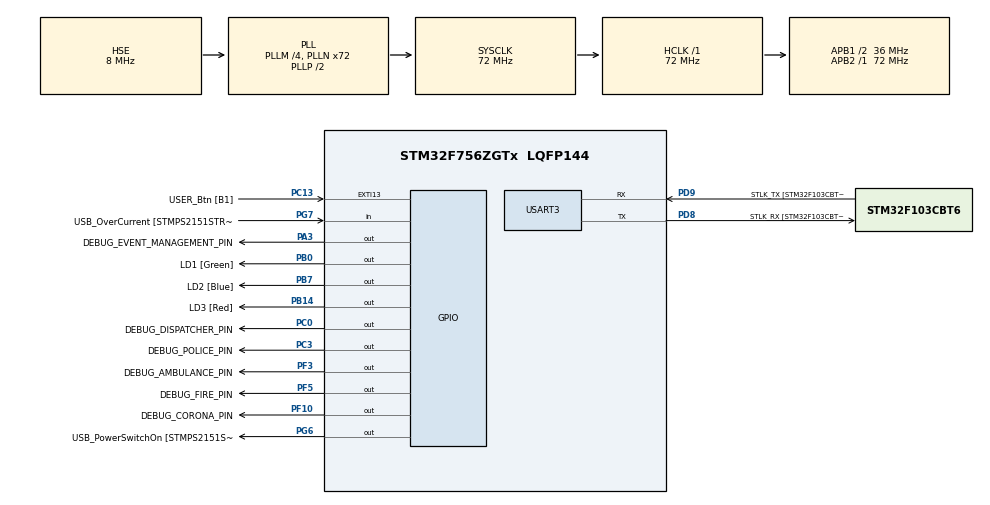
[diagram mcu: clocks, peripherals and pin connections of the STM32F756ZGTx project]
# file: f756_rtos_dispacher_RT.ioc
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FREERTOS.Tasks01=defaultTask,24,128,StartDefaultTask,Default,NULL,Dynamic,NULL,NULL
Mcu.Family=STM32F7
Mcu.Name=STM32F756ZGTx
Mcu.Package=LQFP144
NVIC.PriorityGroup=NVIC_PRIORITYGROUP_4
NVIC.TIM6_DAC_IRQn=true\:15\:0\:false\:false\:true\:false\:false\:true\:true
NVIC.TimeBase=TIM6_DAC_IRQn
NVIC.TimeBaseIP=TIM6
PA1.GPIO_Label=RMII_REF_CLK [LAN8742A-CZ-TR_REFCLK0]
PA1.Signal=ETH_REF_CLK
PA10.GPIO_Label=USB_ID
PA10.Signal=USB_OTG_FS_ID
PA11.GPIO_Label=USB_DM
PA11.Signal=USB_OTG_FS_DM
PA12.GPIO_Label=USB_DP
PA12.Signal=USB_OTG_FS_DP
PA13.GPIO_Label=TMS
PA13.Mode=Serial_Wire
PA13.Signal=SYS_JTMS-SWDIO
PA14.GPIO_Label=TCK
PA14.Mode=Serial_Wire
PA14.Signal=SYS_JTCK-SWCLK
PA2.GPIO_Label=RMII_MDIO [LAN8742A-CZ-TR_MDIO]
PA2.Signal=ETH_MDIO
PA3.GPIO_Label=DEBUG_EVENT_MANAGEMENT_PIN
PA3.Signal=GPIO_Output
PA7.GPIO_Label=RMII_CRS_DV [LAN8742A-CZ-TR_CRS_DV]
PA7.Signal=ETH_CRS_DV
PA8.GPIO_Label=USB_SOF [TP1]
PA8.Signal=USB_OTG_FS_SOF
PA9.GPIO_Label=USB_VBUS
PA9.Signal=USB_OTG_FS_VBUS
PB0.GPIO_Label=LD1 [Green]
PB0.Signal=GPIO_Output
PB13.GPIO_Label=RMII_TXD1 [LAN8742A-CZ-TR_TXD1]
PB13.Signal=ETH_TXD1
PB14.GPIO_Label=LD3 [Red]
PB14.Signal=GPIO_Output
PB3.GPIO_Label=SW0
PB3.Signal=SYS_JTDO-SWO
PB7.GPIO_Label=LD2 [Blue]
PB7.Signal=GPIO_Output
PB8.Signal=I2C1_SCL
PB9.Signal=I2C1_SDA
PC0.GPIO_Label=DEBUG_DISPATCHER_PIN
PC0.Signal=GPIO_Output
PC1.GPIO_Label=RMII_MDC [LAN8742A-CZ-TR_MDC]
PC1.Signal=ETH_MDC
PC13.GPIO_Label=USER_Btn [B1]
PC13.Signal=GPXTI13
PC14/OSC32_IN.Mode=LSE-External-Oscillator
PC14/OSC32_IN.Signal=RCC_OSC32_IN
PC15/OSC32_OUT.Mode=LSE-External-Oscillator
PC15/OSC32_OUT.Signal=RCC_OSC32_OUT
PC3.GPIO_Label=DEBUG_POLICE_PIN
PC3.Signal=GPIO_Output
PC4.GPIO_Label=RMII_RXD0 [LAN8742A-CZ-TR_RXD0]
PC4.Signal=ETH_RXD0
PC5.GPIO_Label=RMII_RXD1 [LAN8742A-CZ-TR_RXD1]
PC5.Signal=ETH_RXD1
PD8.GPIO_Label=STLK_RX [STM32F103CBT6_PA3]
PD8.Mode=Asynchronous
PD8.Signal=USART3_TX
PD9.GPIO_Label=STLK_TX [STM32F103CBT6_PA2]
PD9.Mode=Asynchronous
PD9.Signal=USART3_RX
PF10.GPIO_Label=DEBUG_CORONA_PIN
PF10.Signal=GPIO_Output
PF3.GPIO_Label=DEBUG_AMBULANCE_PIN
PF3.Signal=GPIO_Output
PF5.GPIO_Label=DEBUG_FIRE_PIN
PF5.Signal=GPIO_Output
PG11.GPIO_Label=RMII_TX_EN [LAN8742A-CZ-TR_TXEN]
PG11.Signal=ETH_TX_EN
PG13.GPIO_Label=RMII_TXD0 [LAN8742A-CZ-TR_TXD0]
PG13.Signal=ETH_TXD0
PG6.GPIO_Label=USB_PowerSwitchOn [STMPS2151STR_EN]
PG6.Signal=GPIO_Output
PG7.GPIO_Label=USB_OverCurrent [STMPS2151STR_FAULT]
PG7.Signal=GPIO_Input
PH0/OSC_IN.GPIO_Label=MCO [STM32F103CBT6_PA8]
PH0/OSC_IN.Mode=HSE-External-Clock-Source
PH0/OSC_IN.Signal=RCC_OSC_IN
PH1/OSC_OUT.Mode=HSE-External-Clock-Source
PH1/OSC_OUT.Signal=RCC_OSC_OUT
ProjectManager.HeapSize=0x200
ProjectManager.StackSize=0x400
ProjectManager.TargetToolchain=CMake
RCC.48MHZClocksFreq_Value=24000000
RCC.AHBFreq_Value=72000000
RCC.APB1CLKDivider=RCC_HCLK_DIV2
RCC.APB1Freq_Value=36000000
RCC.APB1TimFreq_Value=72000000
RCC.APB2Freq_Value=72000000
RCC.APB2TimFreq_Value=72000000
RCC.CortexFreq_Value=72000000
RCC.HCLKFreq_Value=72000000
RCC.HSE_VALUE=8000000
RCC.HSI_VALUE=16000000
RCC.PLLM=4
RCC.PLLMUL=RCC_PLL_MUL9
RCC.PLLN=72
RCC.PLLQ=3
RCC.PLLSourceVirtual=RCC_PLLSOURCE_HSE
RCC.PRESCALERUSB=RCC_USBCLKSOURCE_PLL_DIV1_5
RCC.SYSCLKFreq_VALUE=72000000
RCC.SYSCLKSource=RCC_SYSCLKSOURCE_PLLCLK
RCC.SYSCLKSourceVirtual=RCC_SYSCLKSOURCE_PLLCLK
RCC.USBFreq_Value=48000000
RCC.VCOOutputFreq_Value=144000000
USART3.VirtualMode-Asynchronous=VM_ASYNC
VP_FREERTOS_VS_CMSIS_V2.Mode=CMSIS_V2
VP_RNG_VS_RNG.Mode=RNG_Activate
VP_SYS_VS_tim6.Mode=TIM6
board=NUCLEO-F756ZG

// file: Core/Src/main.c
/* USER CODE BEGIN Header */
/**
  ******************************************************************************
  * @file           : main.c
  * @brief          : Main program body
  ******************************************************************************
  * @attention
  *
  * Copyright (c) 2025 STMicroelectronics.
  * All rights reserved.
  *
  * This software is licensed under terms that can be found in the LICENSE file
  * in the root directory of this software component.
  * If no LICENSE file comes with this software, it is provided AS-IS.
  *
  ******************************************************************************
  */
/* USER CODE END Header */
#include "main.h"
#include "cmsis_os.h"

/* USER CODE BEGIN Includes */
#include "FreeRTOS.h"
#include "task.h"
#include "print.h"
#include "common.h"
#include "dispatcher.h"
#include "police.h"
#include "ambulance.h"
#include "fire.h"
#include "corona.h"
#include "event_managment.h"

/* USER CODE END Includes */

RNG_HandleTypeDef hrng;

UART_HandleTypeDef huart3;

/* Definitions for defaultTask */
osThreadId_t defaultTaskHandle;
const osThreadAttr_t defaultTask_attributes = {
  .name = "defaultTask",
  .stack_size = 128 * 4,
  .priority = (osPriority_t) osPriorityNormal,
};

void SystemClock_Config(void);
static void MX_GPIO_Init(void);
static void MX_RNG_Init(void);
static void MX_USART3_UART_Init(void);
void StartDefaultTask(void *argument);

int main(void)
{

  /* MCU Configuration--------------------------------------------------------*/

  /* Reset of all peripherals, Initializes the Flash interface and the Systick. */
  HAL_Init();

  /* Configure the system clock */
  SystemClock_Config();

  /* Initialize all configured peripherals */
  MX_GPIO_Init();
  MX_RNG_Init();
  MX_USART3_UART_Init();

  /* Init scheduler */
  osKernelInitialize();

  /* Create the thread(s) */
  /* creation of defaultTask */
  // defaultTaskHandle = osThreadNew(StartDefaultTask, NULL, &defaultTask_attributes);

  /* USER CODE BEGIN RTOS_THREADS */
/* add threads, ... */

configASSERT(xPrintInit(TASK_DEFAULT_PRIORITY + 1) == pdPASS);
DEBUG_INFO("------------------------------------------\n");
// Start the Dispatcher first (so its queue is ready)
configASSERT(xStartDispacherTask(TASK_DEFAULT_PRIORITY) == pdPASS);
DEBUG_INFO("Dispacher-------------------------------------\n");

// Start each department
configASSERT(xStartPoliceTask(TASK_DEFAULT_PRIORITY) == pdPASS);
DEBUG_INFO("Police-----------------------------------\n");

configASSERT(xStartAmbulanceTask(TASK_DEFAULT_PRIORITY) == pdPASS);
DEBUG_INFO("Ambulance----------------------------------\n");

configASSERT(xStartFireFighterTask(TASK_DEFAULT_PRIORITY) == pdPASS);
DEBUG_INFO("Fire-------------------------------------\n");

configASSERT(xStartCoronaTask(TASK_DEFAULT_PRIORITY) == pdPASS);
DEBUG_INFO("Corona-------------------------------------\n");

// Start the Event Management (generates events)
configASSERT(xStartEventManagementTask(TASK_DEFAULT_PRIORITY) == pdPASS);
DEBUG_INFO("vStartEventManagementTask-----------------\n");
DEBUG_INFO("------------------------------------------\n");
/* USER CODE END RTOS_THREADS */

/* Start scheduler */
osKernelStart();

/* We should never get here as control is now taken by the scheduler */

/* Infinite loop */
while (1)
{

  }
}

void SystemClock_Config(void)
{
  RCC_OscInitTypeDef RCC_OscInitStruct = {0};
  RCC_ClkInitTypeDef RCC_ClkInitStruct = {0};

  /** Configure LSE Drive Capability
  */
  HAL_PWR_EnableBkUpAccess();

  /** Configure the main internal regulator output voltage
  */
  __HAL_RCC_PWR_CLK_ENABLE();
  __HAL_PWR_VOLTAGESCALING_CONFIG(PWR_REGULATOR_VOLTAGE_SCALE3);

  /** Initializes the RCC Oscillators according to the specified parameters
  * in the RCC_OscInitTypeDef structure.
  */
  RCC_OscInitStruct.OscillatorType = RCC_OSCILLATORTYPE_HSE;
  RCC_OscInitStruct.HSEState = RCC_HSE_BYPASS;
  RCC_OscInitStruct.PLL.PLLState = RCC_PLL_ON;
  RCC_OscInitStruct.PLL.PLLSource = RCC_PLLSOURCE_HSE;
  RCC_OscInitStruct.PLL.PLLM = 4;
  RCC_OscInitStruct.PLL.PLLN = 72;
  RCC_OscInitStruct.PLL.PLLP = RCC_PLLP_DIV2;
  RCC_OscInitStruct.PLL.PLLQ = 3;
  if (HAL_RCC_OscConfig(&RCC_OscInitStruct) != HAL_OK)
  {
    Error_Handler();
  }

  /** Initializes the CPU, AHB and APB buses clocks
  */
  RCC_ClkInitStruct.ClockType = RCC_CLOCKTYPE_HCLK|RCC_CLOCKTYPE_SYSCLK
                              |RCC_CLOCKTYPE_PCLK1|RCC_CLOCKTYPE_PCLK2;
  RCC_ClkInitStruct.SYSCLKSource = RCC_SYSCLKSOURCE_PLLCLK;
  RCC_ClkInitStruct.AHBCLKDivider = RCC_SYSCLK_DIV1;
  RCC_ClkInitStruct.APB1CLKDivider = RCC_HCLK_DIV2;
  RCC_ClkInitStruct.APB2CLKDivider = RCC_HCLK_DIV1;

  if (HAL_RCC_ClockConfig(&RCC_ClkInitStruct, FLASH_LATENCY_2) != HAL_OK)
  {
    Error_Handler();
  }
}

static void MX_RNG_Init(void)
{

  hrng.Instance = RNG;
  if (HAL_RNG_Init(&hrng) != HAL_OK)
  {
    Error_Handler();
  }

}

static void MX_USART3_UART_Init(void)
{

  huart3.Instance = USART3;
  huart3.Init.BaudRate = 115200;
  huart3.Init.WordLength = UART_WORDLENGTH_8B;
  huart3.Init.StopBits = UART_STOPBITS_1;
  huart3.Init.Parity = UART_PARITY_NONE;
  huart3.Init.Mode = UART_MODE_TX_RX;
  huart3.Init.HwFlowCtl = UART_HWCONTROL_NONE;
  huart3.Init.OverSampling = UART_OVERSAMPLING_16;
  huart3.Init.OneBitSampling = UART_ONE_BIT_SAMPLE_DISABLE;
  huart3.AdvancedInit.AdvFeatureInit = UART_ADVFEATURE_NO_INIT;
  if (HAL_UART_Init(&huart3) != HAL_OK)
  {
    Error_Handler();
  }

}

static void MX_GPIO_Init(void)
{
  GPIO_InitTypeDef GPIO_InitStruct = {0};

  /* GPIO Ports Clock Enable */
  __HAL_RCC_GPIOC_CLK_ENABLE();
  __HAL_RCC_GPIOF_CLK_ENABLE();
  __HAL_RCC_GPIOH_CLK_ENABLE();
  __HAL_RCC_GPIOA_CLK_ENABLE();
  __HAL_RCC_GPIOB_CLK_ENABLE();
  __HAL_RCC_GPIOD_CLK_ENABLE();
  __HAL_RCC_GPIOG_CLK_ENABLE();

  /*Configure GPIO pin Output Level */
  HAL_GPIO_WritePin(GPIOF, DEBUG_AMBULANCE_PIN_Pin | DEBUG_FIRE_PIN_Pin | DEBUG_CORONA_PIN_Pin, GPIO_PIN_RESET);

  /*Configure GPIO pin Output Level */
  HAL_GPIO_WritePin(GPIOC, DEBUG_DISPATCHER_PIN_Pin | DEBUG_POLICE_PIN_Pin, GPIO_PIN_RESET);

  /*Configure GPIO pin Output Level */
  HAL_GPIO_WritePin(DEBUG_EVENT_MANAGEMENT_PIN_GPIO_Port, DEBUG_EVENT_MANAGEMENT_PIN_Pin, GPIO_PIN_RESET);

  /*Configure GPIO pin Output Level */
  HAL_GPIO_WritePin(GPIOB, LD1_Pin|LD3_Pin|LD2_Pin, GPIO_PIN_RESET);

  /*Configure GPIO pin Output Level */
  HAL_GPIO_WritePin(USB_PowerSwitchOn_GPIO_Port, USB_PowerSwitchOn_Pin, GPIO_PIN_RESET);

  /*Configure GPIO pin : USER_Btn_Pin */
  GPIO_InitStruct.Pin = USER_Btn_Pin;
  GPIO_InitStruct.Mode = GPIO_MODE_IT_RISING;
  GPIO_InitStruct.Pull = GPIO_NOPULL;
  HAL_GPIO_Init(USER_Btn_GPIO_Port, &GPIO_InitStruct);

  /*Configure GPIO pins : DEBUG_AMBULANCE_PIN_Pin DEBUG_FIRE_PIN_Pin DEBUG_CORONA_PIN_Pin */
  GPIO_InitStruct.Pin = DEBUG_AMBULANCE_PIN_Pin | DEBUG_FIRE_PIN_Pin | DEBUG_CORONA_PIN_Pin;
  GPIO_InitStruct.Mode = GPIO_MODE_OUTPUT_PP;
  GPIO_InitStruct.Pull = GPIO_NOPULL;
  GPIO_InitStruct.Speed = GPIO_SPEED_FREQ_LOW;
  HAL_GPIO_Init(GPIOF, &GPIO_InitStruct);

  /*Configure GPIO pins : DEBUG_DISPATCHER_PIN_Pin DEBUG_POLICE_PIN_Pin */
  GPIO_InitStruct.Pin = DEBUG_DISPATCHER_PIN_Pin | DEBUG_POLICE_PIN_Pin;
  GPIO_InitStruct.Mode = GPIO_MODE_OUTPUT_PP;
  GPIO_InitStruct.Pull = GPIO_NOPULL;
  GPIO_InitStruct.Speed = GPIO_SPEED_FREQ_LOW;
  HAL_GPIO_Init(GPIOC, &GPIO_InitStruct);

  /*Configure GPIO pins : RMII_MDC_Pin RMII_RXD0_Pin RMII_RXD1_Pin */
  GPIO_InitStruct.Pin = RMII_MDC_Pin|RMII_RXD0_Pin|RMII_RXD1_Pin;
  GPIO_InitStruct.Mode = GPIO_MODE_AF_PP;
  GPIO_InitStruct.Pull = GPIO_NOPULL;
  GPIO_InitStruct.Speed = GPIO_SPEED_FREQ_VERY_HIGH;
  GPIO_InitStruct.Alternate = GPIO_AF11_ETH;
  HAL_GPIO_Init(GPIOC, &GPIO_InitStruct);

  /*Configure GPIO pins : RMII_REF_CLK_Pin RMII_MDIO_Pin RMII_CRS_DV_Pin */
  GPIO_InitStruct.Pin = RMII_REF_CLK_Pin|RMII_MDIO_Pin|RMII_CRS_DV_Pin;
  GPIO_InitStruct.Mode = GPIO_MODE_AF_PP;
  GPIO_InitStruct.Pull = GPIO_NOPULL;
  GPIO_InitStruct.Speed = GPIO_SPEED_FREQ_VERY_HIGH;
  GPIO_InitStruct.Alternate = GPIO_AF11_ETH;
  HAL_GPIO_Init(GPIOA, &GPIO_InitStruct);

  /*Configure GPIO pin : DEBUG_EVENT_MANAGEMENT_PIN_Pin */
  GPIO_InitStruct.Pin = DEBUG_EVENT_MANAGEMENT_PIN_Pin;
  GPIO_InitStruct.Mode = GPIO_MODE_OUTPUT_PP;
  GPIO_InitStruct.Pull = GPIO_NOPULL;
  GPIO_InitStruct.Speed = GPIO_SPEED_FREQ_LOW;
  HAL_GPIO_Init(DEBUG_EVENT_MANAGEMENT_PIN_GPIO_Port, &GPIO_InitStruct);

  /*Configure GPIO pins : LD1_Pin LD3_Pin LD2_Pin */
  GPIO_InitStruct.Pin = LD1_Pin|LD3_Pin|LD2_Pin;
  GPIO_InitStruct.Mode = GPIO_MODE_OUTPUT_PP;
  GPIO_InitStruct.Pull = GPIO_NOPULL;
  GPIO_InitStruct.Speed = GPIO_SPEED_FREQ_LOW;
  HAL_GPIO_Init(GPIOB, &GPIO_InitStruct);

  /*Configure GPIO pin : RMII_TXD1_Pin */
  GPIO_InitStruct.Pin = RMII_TXD1_Pin;
  GPIO_InitStruct.Mode = GPIO_MODE_AF_PP;
  GPIO_InitStruct.Pull = GPIO_NOPULL;
  GPIO_InitStruct.Speed = GPIO_SPEED_FREQ_VERY_HIGH;
  GPIO_InitStruct.Alternate = GPIO_AF11_ETH;
  HAL_GPIO_Init(RMII_TXD1_GPIO_Port, &GPIO_InitStruct);

  /*Configure GPIO pin : USB_PowerSwitchOn_Pin */
  GPIO_InitStruct.Pin = USB_PowerSwitchOn_Pin;
  GPIO_InitStruct.Mode = GPIO_MODE_OUTPUT_PP;
  GPIO_InitStruct.Pull = GPIO_NOPULL;
  GPIO_InitStruct.Speed = GPIO_SPEED_FREQ_LOW;
  HAL_GPIO_Init(USB_PowerSwitchOn_GPIO_Port, &GPIO_InitStruct);

  /*Configure GPIO pin : USB_OverCurrent_Pin */
  GPIO_InitStruct.Pin = USB_OverCurrent_Pin;
  GPIO_InitStruct.Mode = GPIO_MODE_INPUT;
  GPIO_InitStruct.Pull = GPIO_NOPULL;
  HAL_GPIO_Init(USB_OverCurrent_GPIO_Port, &GPIO_InitStruct);

  /*Configure GPIO pins : USB_SOF_Pin USB_ID_Pin USB_DM_Pin USB_DP_Pin */
  GPIO_InitStruct.Pin = USB_SOF_Pin|USB_ID_Pin|USB_DM_Pin|USB_DP_Pin;
  GPIO_InitStruct.Mode = GPIO_MODE_AF_PP;
  GPIO_InitStruct.Pull = GPIO_NOPULL;
  GPIO_InitStruct.Speed = GPIO_SPEED_FREQ_VERY_HIGH;
  GPIO_InitStruct.Alternate = GPIO_AF10_OTG_FS;
  HAL_GPIO_Init(GPIOA, &GPIO_InitStruct);

  /*Configure GPIO pin : USB_VBUS_Pin */
  GPIO_InitStruct.Pin = USB_VBUS_Pin;
  GPIO_InitStruct.Mode = GPIO_MODE_INPUT;
  GPIO_InitStruct.Pull = GPIO_NOPULL;
  HAL_GPIO_Init(USB_VBUS_GPIO_Port, &GPIO_InitStruct);

  /*Configure GPIO pins : RMII_TX_EN_Pin RMII_TXD0_Pin */
  GPIO_InitStruct.Pin = RMII_TX_EN_Pin|RMII_TXD0_Pin;
  GPIO_InitStruct.Mode = GPIO_MODE_AF_PP;
  GPIO_InitStruct.Pull = GPIO_NOPULL;
  GPIO_InitStruct.Speed = GPIO_SPEED_FREQ_VERY_HIGH;
  GPIO_InitStruct.Alternate = GPIO_AF11_ETH;
  HAL_GPIO_Init(GPIOG, &GPIO_InitStruct);

  /*Configure GPIO pins : PB8 PB9 */
  GPIO_InitStruct.Pin = GPIO_PIN_8|GPIO_PIN_9;
  GPIO_InitStruct.Mode = GPIO_MODE_AF_OD;
  GPIO_InitStruct.Pull = GPIO_NOPULL;
  GPIO_InitStruct.Speed = GPIO_SPEED_FREQ_VERY_HIGH;
  GPIO_InitStruct.Alternate = GPIO_AF4_I2C1;
  HAL_GPIO_Init(GPIOB, &GPIO_InitStruct);

}

/* USER CODE BEGIN 4 */

/**
 * @brief Callback function called when a stack overflow is detected in a task.
 *
 * This function is called by the RTOS when a stack overflow is detected in a
 * task. It prints the name of the task that caused the stack overflow and
 * then enters an infinite loop to halt the system.
 *
 * @param xTask The handle of the task that caused the stack overflow.
 * @param pcTaskName The name of the task that caused the stack overflow.
 */
void vApplicationStackOverflowHook(TaskHandle_t xTask, char *pcTaskName)
{
  DEBUG_INFO("Stack overflow in task: %s\n", pcTaskName);
  while (1)
  {
    DEBUG_LED_TOGGLE(DEBUG_ERROR_LED);
    HAL_Delay(100);
  }
}
/**
 * @brief Callback function called when a memory allocation fails.
 *
 * This function is called by the system when a memory allocation fails. It
 * prints a message to the console indicating that the memory allocation
 * failed, and then enters an infinite loop to halt the system.
 */
void vApplicationMallocFailedHook(void)
{
  DEBUG_INFO("Memory allocation failed!\n");
  while (1)
    ;
}
/**
 * @brief Monitors the stack usage of each task in the system.
 *
 * This function checks the remaining stack space for the default task and
 * logs the value to the console. Additional checks for other tasks can be
 * added to this function.
 */
void monitorTaskStacks(void)
{
  UBaseType_t uxHighWaterMark;

  // Check each task's remaining stack
  uxHighWaterMark = uxTaskGetStackHighWaterMark(defaultTaskHandle);
  DEBUG_INFO("Default Task Stack Remaining: %lu\n", uxHighWaterMark);

  // Add similar checks for other tasks
}

/* USER CODE END 4 */

void StartDefaultTask(void *argument)
{
  /* USER CODE BEGIN 5 */
  /* Infinite loop */
  for(;;)
  {
    DEBUG_INFO("Hello World!\r\n");
    osDelay(1000);
  }
  /* USER CODE END 5 */
}

void HAL_TIM_PeriodElapsedCallback(TIM_HandleTypeDef *htim)
{
  if (htim->Instance == TIM6) {
    HAL_IncTick();
  }
}

void Error_Handler(void)
{
  __disable_irq();
  while (1)
  {
  }
}
